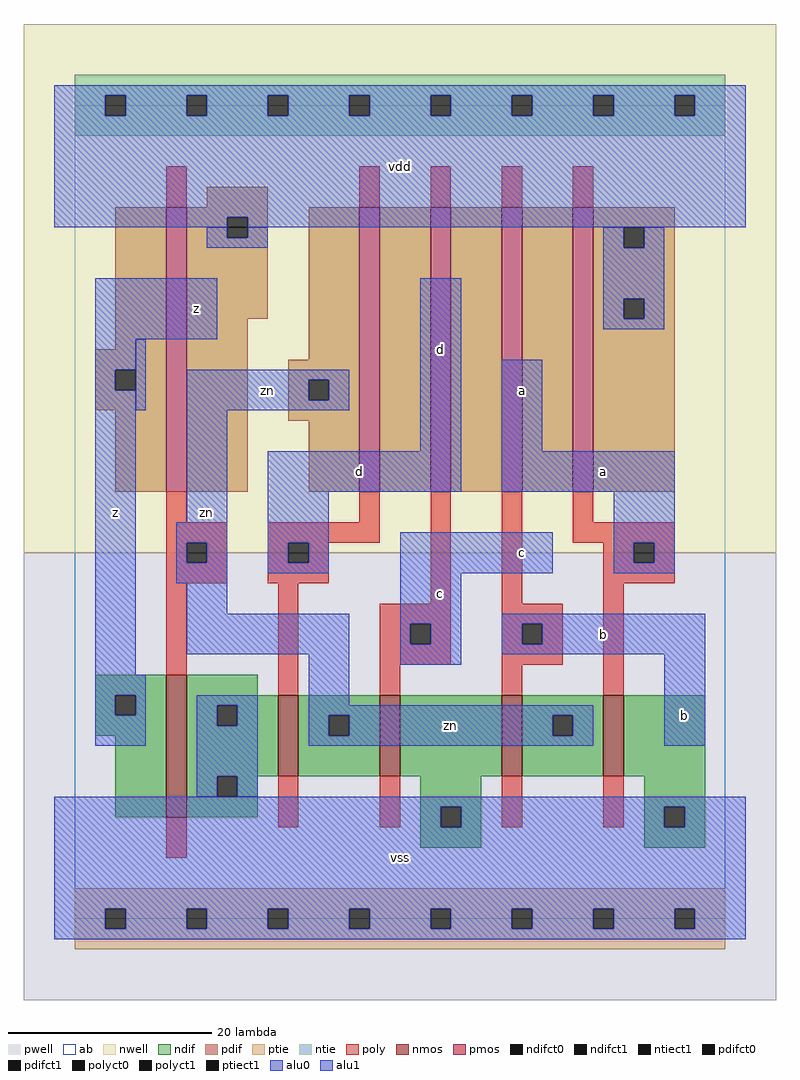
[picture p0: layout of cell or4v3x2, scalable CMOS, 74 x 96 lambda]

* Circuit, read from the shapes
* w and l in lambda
.subckt or4v3x2 a b c d vdd vss z zn
M1 vss zn z vss nfet w=14 l=2
M2 zn d vss vss nfet w=8 l=2
M3 vss c zn vss nfet w=8 l=2
M4 zn b vss vss nfet w=8 l=2
M5 vss a zn vss nfet w=8 l=2
M6 vdd zn z vdd pfet w=28 l=2
M7 n1 d zn vdd pfet w=28 l=2
M8 n2 c n1 vdd pfet w=28 l=2
M9 n3 b n2 vdd pfet w=28 l=2
M10 vdd a n3 vdd pfet w=28 l=2
.ends

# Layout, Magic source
magic
tech scmos
<< ab >>
rect 0 0 64 80
<< nwell >>
rect -5 36 69 88
<< pwell >>
rect -5 -8 69 36
<< poly >>
rect 9 70 11 74
rect 28 70 30 74
rect 35 70 37 74
rect 42 70 44 74
rect 49 70 51 74
rect 9 39 11 42
rect 28 39 30 42
rect 9 37 15 39
rect 9 35 11 37
rect 13 35 15 37
rect 9 33 15 35
rect 19 37 30 39
rect 19 35 21 37
rect 23 35 25 37
rect 19 33 25 35
rect 9 24 11 33
rect 20 22 22 33
rect 35 31 37 42
rect 30 29 37 31
rect 30 27 33 29
rect 35 27 37 29
rect 30 25 37 27
rect 42 31 44 42
rect 49 39 51 42
rect 49 37 59 39
rect 52 35 55 37
rect 57 35 59 37
rect 52 33 59 35
rect 42 29 48 31
rect 42 27 44 29
rect 46 27 48 29
rect 42 25 48 27
rect 30 22 32 25
rect 42 22 44 25
rect 52 22 54 33
rect 9 6 11 10
rect 20 9 22 14
rect 30 9 32 14
rect 42 9 44 14
rect 52 9 54 14
<< ndif >>
rect 2 22 9 24
rect 2 20 4 22
rect 6 20 9 22
rect 2 18 9 20
rect 4 10 9 18
rect 11 22 18 24
rect 11 21 20 22
rect 11 19 14 21
rect 16 19 20 21
rect 11 14 20 19
rect 22 20 30 22
rect 22 18 25 20
rect 27 18 30 20
rect 22 14 30 18
rect 32 14 42 22
rect 44 20 52 22
rect 44 18 47 20
rect 49 18 52 20
rect 44 14 52 18
rect 54 14 62 22
rect 11 12 14 14
rect 16 12 18 14
rect 11 10 18 12
rect 34 11 40 14
rect 34 9 36 11
rect 38 9 40 11
rect 56 11 62 14
rect 56 9 58 11
rect 60 9 62 11
rect 34 7 40 9
rect 56 7 62 9
<< pdif >>
rect 13 70 19 72
rect 4 56 9 70
rect 2 54 9 56
rect 2 52 4 54
rect 6 52 9 54
rect 2 50 9 52
rect 4 42 9 50
rect 11 69 19 70
rect 11 67 15 69
rect 17 67 19 69
rect 11 59 19 67
rect 11 42 17 59
rect 23 55 28 70
rect 21 53 28 55
rect 21 51 23 53
rect 25 51 28 53
rect 21 49 28 51
rect 23 42 28 49
rect 30 42 35 70
rect 37 42 42 70
rect 44 42 49 70
rect 51 68 59 70
rect 51 66 54 68
rect 56 66 59 68
rect 51 61 59 66
rect 51 59 54 61
rect 56 59 59 61
rect 51 42 59 59
<< alu1 >>
rect -2 81 66 82
rect -2 79 3 81
rect 5 79 11 81
rect 13 79 19 81
rect 21 79 27 81
rect 29 79 35 81
rect 37 79 43 81
rect 45 79 51 81
rect 53 79 59 81
rect 61 79 66 81
rect -2 69 66 79
rect -2 68 15 69
rect 17 68 66 69
rect 2 57 14 63
rect 2 54 6 57
rect 2 52 4 54
rect 2 24 6 52
rect 34 46 38 63
rect 19 42 38 46
rect 42 46 46 55
rect 42 42 59 46
rect 19 37 25 42
rect 19 35 21 37
rect 23 35 25 37
rect 19 34 25 35
rect 32 34 47 38
rect 53 37 59 42
rect 53 35 55 37
rect 57 35 59 37
rect 53 34 59 35
rect 2 22 7 24
rect 2 20 4 22
rect 6 20 7 22
rect 2 17 7 20
rect 32 29 38 34
rect 32 27 33 29
rect 35 27 38 29
rect 32 25 38 27
rect 42 29 62 30
rect 42 27 44 29
rect 46 27 62 29
rect 42 26 62 27
rect 58 17 62 26
rect -2 11 66 12
rect -2 9 36 11
rect 38 9 58 11
rect 60 9 66 11
rect -2 1 66 9
rect -2 -1 3 1
rect 5 -1 11 1
rect 13 -1 19 1
rect 21 -1 27 1
rect 29 -1 35 1
rect 37 -1 43 1
rect 45 -1 51 1
rect 53 -1 59 1
rect 61 -1 66 1
rect -2 -2 66 -1
<< ptie >>
rect 0 1 64 3
rect 0 -1 3 1
rect 5 -1 11 1
rect 13 -1 19 1
rect 21 -1 27 1
rect 29 -1 35 1
rect 37 -1 43 1
rect 45 -1 51 1
rect 53 -1 59 1
rect 61 -1 64 1
rect 0 -3 64 -1
<< ntie >>
rect 0 81 64 83
rect 0 79 3 81
rect 5 79 11 81
rect 13 79 19 81
rect 21 79 27 81
rect 29 79 35 81
rect 37 79 43 81
rect 45 79 51 81
rect 53 79 59 81
rect 61 79 64 81
rect 0 77 64 79
<< nmos >>
rect 9 10 11 24
rect 20 14 22 22
rect 30 14 32 22
rect 42 14 44 22
rect 52 14 54 22
<< pmos >>
rect 9 42 11 70
rect 28 42 30 70
rect 35 42 37 70
rect 42 42 44 70
rect 49 42 51 70
<< polyct0 >>
rect 11 35 13 37
<< polyct1 >>
rect 21 35 23 37
rect 33 27 35 29
rect 55 35 57 37
rect 44 27 46 29
<< ndifct0 >>
rect 14 19 16 21
rect 25 18 27 20
rect 47 18 49 20
rect 14 12 16 14
<< ndifct1 >>
rect 4 20 6 22
rect 36 9 38 11
rect 58 9 60 11
<< ntiect1 >>
rect 3 79 5 81
rect 11 79 13 81
rect 19 79 21 81
rect 27 79 29 81
rect 35 79 37 81
rect 43 79 45 81
rect 51 79 53 81
rect 59 79 61 81
<< ptiect1 >>
rect 3 -1 5 1
rect 11 -1 13 1
rect 19 -1 21 1
rect 27 -1 29 1
rect 35 -1 37 1
rect 43 -1 45 1
rect 51 -1 53 1
rect 59 -1 61 1
<< pdifct0 >>
rect 15 67 17 68
rect 23 51 25 53
rect 54 66 56 68
rect 54 59 56 61
<< pdifct1 >>
rect 4 52 6 54
rect 15 68 17 69
<< alu0 >>
rect 13 67 15 68
rect 17 67 19 68
rect 13 66 19 67
rect 52 66 54 68
rect 56 66 58 68
rect 6 50 7 57
rect 11 53 27 54
rect 11 51 23 53
rect 25 51 27 53
rect 11 50 27 51
rect 11 39 15 50
rect 52 61 58 66
rect 52 59 54 61
rect 56 59 58 61
rect 52 58 58 59
rect 10 37 15 39
rect 10 35 11 37
rect 13 35 15 37
rect 10 33 15 35
rect 11 30 15 33
rect 11 26 27 30
rect 12 21 18 22
rect 12 19 14 21
rect 16 19 18 21
rect 12 14 18 19
rect 23 21 27 26
rect 23 20 51 21
rect 23 18 25 20
rect 27 18 47 20
rect 49 18 51 20
rect 23 17 51 18
rect 12 12 14 14
rect 16 12 18 14
<< labels >>
rlabel alu0 13 40 13 40 6 zn
rlabel alu0 19 52 19 52 6 zn
rlabel alu0 37 19 37 19 6 zn
rlabel alu1 4 40 4 40 6 z
rlabel alu1 12 60 12 60 6 z
rlabel alu1 28 44 28 44 6 d
rlabel alu1 32 6 32 6 6 vss
rlabel alu1 36 32 36 32 6 c
rlabel alu1 44 36 44 36 6 c
rlabel alu1 36 56 36 56 6 d
rlabel alu1 44 52 44 52 6 a
rlabel alu1 32 74 32 74 6 vdd
rlabel alu1 60 20 60 20 6 b
rlabel alu1 52 28 52 28 6 b
rlabel alu1 52 44 52 44 6 a
<< end >>
